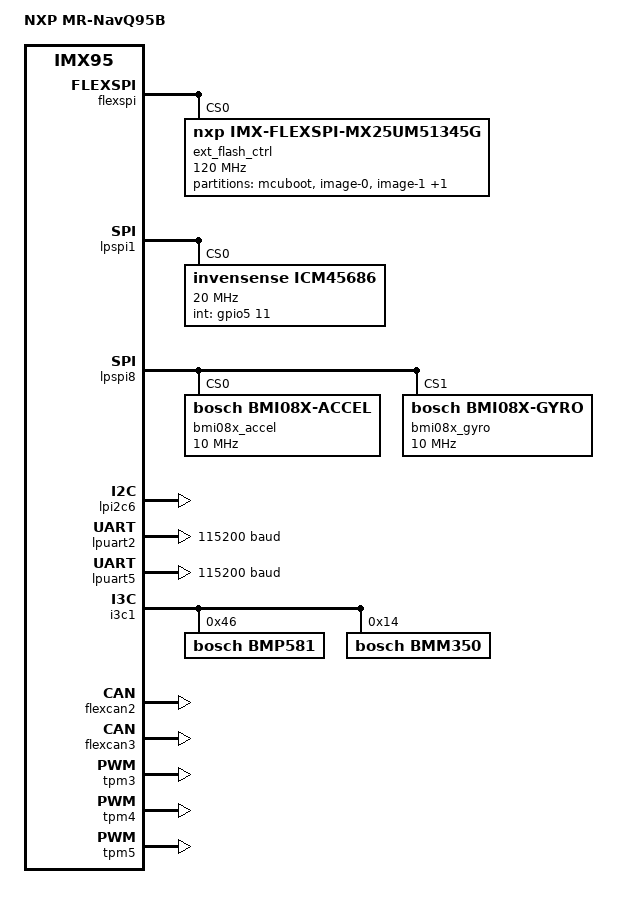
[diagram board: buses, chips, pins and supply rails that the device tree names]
/*
 * Copyright 2026 NXP
 *
 * SPDX-License-Identifier: Apache-2.0
 */

/dts-v1/;

#include <nxp/imx/nxp_imx95_m7.dtsi>
#include <zephyr/dt-bindings/pwm/pwm.h>
#include "mr_navq95b-pinctrl.dtsi"
#include <zephyr/dt-bindings/sensor/icm45686.h>

/ {
	model = "NXP MR-NavQ95B";
	compatible = "nxp,navq95";

	chosen {
		/* TCM */
		zephyr,flash = &itcm;
		zephyr,sram = &dtcm;

		zephyr,flash-controller = &ext_flash_ctrl;
		zephyr,console = &lpuart2;
		zephyr,shell-uart = &lpuart2;
		zephyr,canbus = &flexcan2;
	};
};

&gpio2 {
	status = "okay";
	irq-output-select = <1>;
};

&gpio5 {
	status = "okay";
	irq-output-select = <1>;
};

&flexspi {
	status = "okay";
	ahb-prefetch;
	ahb-read-addr-opt;
	ahb-bufferable;
	ahb-cacheable;
	rx-clock-source = <1>;
	pinctrl-0 = <&flexspi_default>;
	pinctrl-names = "default";

	ext_flash_ctrl: flash-controller@0 {
		compatible = "nxp,imx-flexspi-mx25um51345g";
		/* MX25UM51345G is 64MB, 512MBit flash part */
		size = <DT_SIZE_M(64*8)>;
		reg = <0>;
		spi-max-frequency = <DT_FREQ_M(120)>;
		status = "okay";
		jedec-id = [c2 81 3a];
		cs-interval = <2>;

		#address-cells = <1>;
		#size-cells = <1>;
		ranges = <0x0 0x28000000 DT_SIZE_M(64)>;

		mx25um51345g: mx25um51345g@0 {
			compatible = "soc-nv-flash";
			reg = <0x0 DT_SIZE_M(64)>;
			erase-block-size = <DT_SIZE_K(4)>;
			write-block-size = <2>;

			ranges;
			#address-cells = <1>;
			#size-cells = <1>;

			partitions {
				ranges;
				#address-cells = <1>;
				#size-cells = <1>;

				/*
				 * Partition sizes must be aligned
				 * to the flash memory sector size of 4KB.
				 */
				boot_partition: partition@0 {
					compatible = "zephyr,mapped-partition";
					label = "mcuboot";
					reg = <0x00000000 DT_SIZE_K(128)>;
				};

				slot0_partition: partition@20000 {
					compatible = "zephyr,mapped-partition";
					label = "image-0";
					reg = <0x00020000 DT_SIZE_M(7)>;
				};

				slot1_partition: partition@720000 {
					compatible = "zephyr,mapped-partition";
					label = "image-1";
					reg = <0x00720000 DT_SIZE_M(7)>;
				};

				storage_partition: partition@e20000 {
					compatible = "zephyr,mapped-partition";
					label = "storage";
					reg = <0x00e20000 (DT_SIZE_M(2) - DT_SIZE_K(128))>;
				};
			};
		};
	};
};

&lpspi1 {
	pinctrl-0 = <&lpspi1_default>;
	pinctrl-names = "default";
	status = "okay";
	/* cs-gpios =<&gpio1 11 GPIO_ACTIVE_LOW>; */

	icm45686: icm45686@0 {
		compatible = "invensense,icm45686";
		reg = <0>;
		int-gpios = <&gpio5 11 GPIO_ACTIVE_HIGH>;
		spi-max-frequency = <DT_FREQ_M(20)>;
		spi-cs-setup-delay-ns = <50>;
		spi-cs-hold-delay-ns = <50>;
		spi-interframe-delay-ns = <50>;
		accel-pwr-mode = <ICM45686_DT_ACCEL_LN>;
		accel-fs = <ICM45686_DT_ACCEL_FS_2>;
		accel-odr = <ICM45686_DT_ACCEL_ODR_400>;
		accel-lpf = <ICM45686_DT_ACCEL_LPF_BW_1_32>;
		gyro-pwr-mode = <ICM45686_DT_GYRO_LN>;
		gyro-fs = <ICM45686_DT_GYRO_FS_4000>;
		gyro-odr = <ICM45686_DT_GYRO_ODR_400>;
		gyro-lpf = <ICM45686_DT_GYRO_LPF_BW_1_32>;

		fifo-watermark = <1>;
	};
};

&lpspi8 {
	pinctrl-0 = <&lpspi8_default>;
	pinctrl-names = "default";
	status = "okay";

	bmi08x_accel: bmi08x@0 {
		compatible = "bosch,bmi08x-accel";
		reg = <0>;
		spi-max-frequency = <DT_FREQ_M(10)>;
		spi-cs-setup-delay-ns = <50>;
		spi-cs-hold-delay-ns = <50>;
		spi-interframe-delay-ns = <50>;
		int1-map-io = <0x01>;
		int2-map-io = <0x00>;
		int1-conf-io = <0x04>;
		int2-conf-io = <0x00>;
		accel-hz = "800";
		accel-fs = <24>;
	};

	bmi08x_gyro: bmi08x@1 {
		compatible = "bosch,bmi08x-gyro";
		reg = <1>;
		spi-max-frequency = <DT_FREQ_M(10)>;
		spi-cs-setup-delay-ns = <50>;
		spi-cs-hold-delay-ns = <50>;
		spi-interframe-delay-ns = <50>;
		int3-4-map-io = <0x01>;
		int3-4-conf-io = <0x02>;
		gyro-hz = "1000_116";
		gyro-fs = <1000>;
	};
};

&lpi2c6 {
	status = "okay";
	pinctrl-0 = <&lpi2c6_default>;
	pinctrl-names = "default";
};

&lpuart2 {
	status = "okay";
	current-speed = <115200>;
	pinctrl-0 = <&lpuart2_default>;
	pinctrl-names = "default";
};

&lpuart5 {
	status = "okay";
	current-speed = <115200>;
	pinctrl-0 = <&lpuart5_default>;
	pinctrl-names = "default";
};

&i3c1 {
	pinctrl-0 = <&i3c1_default>;
	pinctrl-names = "default";
	status = "okay";
	i2c-scl-hz = <400000>;

	bmp581: bmp581@460000000000000050 {
		compatible = "bosch,bmp581";
		reg = <0x46 0x0 0x50>;
	};

	bmm350: bmm350@140000000000000050 {
		compatible = "bosch,bmm350";
		reg = <0x14 0x0 0x50>;
	};
};

&flexcan2 {
	pinctrl-0 = <&flexcan2_default>;
	pinctrl-names = "default";
	status = "okay";
};

&flexcan3 {
	pinctrl-0 = <&flexcan3_default>;
	pinctrl-names = "default";
	status = "okay";
};

&tpm3 {
	status = "okay";
	pinctrl-0 = <&tpm3_pwm1_pwm2_pwm3>;
	pinctrl-names = "default";
};

&tpm4 {
	status = "okay";
	pinctrl-0 = <&tpm4_pwm4_pwm5>;
	pinctrl-names = "default";
};

&tpm5 {
	status = "okay";
	pinctrl-0 = <&tpm5_pwm6_pwm7>;
	pinctrl-names = "default";
};
